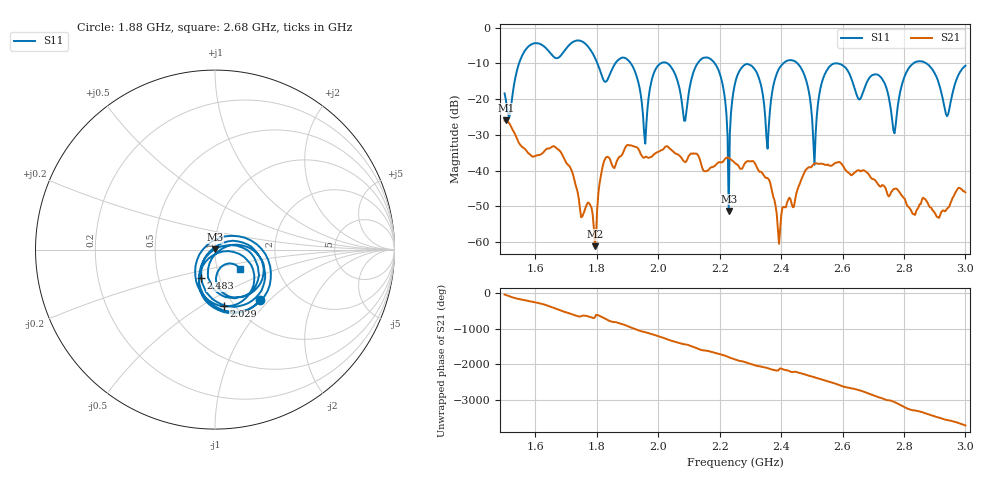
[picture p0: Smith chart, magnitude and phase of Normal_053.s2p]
# HZ S RI R 50
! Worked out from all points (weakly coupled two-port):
!   404 points, 1.5 GHz to 3 GHz, reference 50 ohm
!   highest |S21| = -25.96 dB at 1.504 GHz (marker M1); lowest = -61.2 dB at 1.794 GHz (marker M2)
!   lowest |S11| = -51.4 dB at 2.23 GHz (marker M3), VSWR 1.01, Z = 50.1 + j0.265 ohm
!   |S11| at or under -10 dB: 2.184 GHz to 2.407 GHz (222.6 MHz wide, 9.7 % of centre); 2.584 GHz to 2.83 GHz (246.3 MHz wide, 9.1 % of centre); 2.873 GHz to end of sweep (the widest 3 of 8)
!   S12 and S22 are empty: the file has one direction only
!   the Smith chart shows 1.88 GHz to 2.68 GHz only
!   S11 on the Smith chart (normalised r, x): 1.88 GHz: 1.33, -0.88; 2.029 GHz: 0.90, -0.63; 2.483 GHz: 0.82, -0.27; 2.68 GHz: 1.29, -0.28
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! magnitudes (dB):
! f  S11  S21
! 1.5 GHz  -18.4  -26.0
! 1.504 GHz  -20.0  -26.0
! 1.753 GHz  -3.9  -52.8
! 1.794 GHz  -8.4  -61.2
! 1.824 GHz  -14.9  -37.4
! 1.88 GHz  -8.5  -35.9
! 1.958 GHz  -32.5  -36.2
! 2.002 GHz  -10.3  -34.7
! 2.029 GHz  -9.9  -33.2
! 2.084 GHz  -26.1  -37.5
! 2.181 GHz  -9.6  -38.9
! 2.23 GHz  -51.4  -36.4
! 2.252 GHz  -15.0  -38.0
! 2.315 GHz  -11.8  -38.0
! 2.356 GHz  -33.9  -42.1
! 2.393 GHz  -11.5  -60.5
! 2.483 GHz  -15.0  -39.6
! 2.501 GHz  -25.8  -38.7
! 2.565 GHz  -10.4  -38.7
! 2.68 GHz  -15.2  -40.6
! 2.751 GHz  -19.5  -47.3
! 3 GHz  -10.6  -46.1
